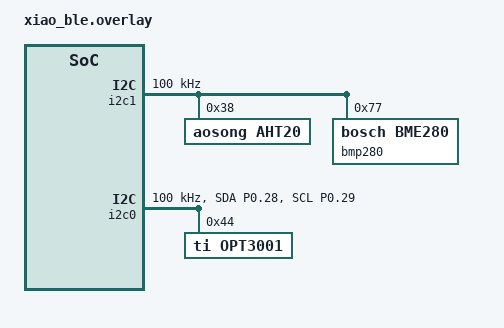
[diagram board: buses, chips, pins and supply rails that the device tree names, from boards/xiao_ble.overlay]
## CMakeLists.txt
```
#
# halo-matter: Matter over Thread colour-temperature light that drives a BenQ
# ScreenBar Halo through the nRF52840 radio in MPSL timeslots.
# Based on nRF Connect SDK samples/matter/light_bulb (LicenseRef-Nordic-5-Clause).
#
cmake_minimum_required(VERSION 3.20.0)

find_package(Zephyr HINTS $ENV{ZEPHYR_BASE})

project(halo-matter)

include(${ZEPHYR_CONNECTEDHOMEIP_MODULE_DIR}/config/nrfconnect/app/enable-gnu-std.cmake)
include(${ZEPHYR_NRF_MODULE_DIR}/samples/matter/common/cmake/source_common.cmake)
include(${ZEPHYR_NRF_MODULE_DIR}/samples/matter/common/cmake/data_model.cmake)
include(${ZEPHYR_NRF_MODULE_DIR}/samples/matter/common/cmake/zap_helpers.cmake)
ncs_get_zap_parent_dir(ZAP_PARENT_DIR)

target_include_directories(app PRIVATE
  src
  ${CMAKE_CURRENT_SOURCE_DIR}/../src
  ${ZAP_PARENT_DIR}
)

target_sources(app PRIVATE
  src/app_task.cpp
  src/main.cpp
  src/zcl_callbacks.cpp
  src/halo_radio_ts.c
  src/halo_shell.cpp
  src/crash_box.c
  src/env_sensor.cpp
  src/ac_link.cpp
  src/ac_control.cpp
  ${CHIP_ROOT}/src/app/persistence/DeferredAttributePersistenceProvider.cpp
)

ncs_configure_data_model()
```

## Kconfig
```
mainmenu "halo-matter: ScreenBar Halo as a Matter over Thread light"

if OPENTHREAD

choice OPENTHREAD_NORDIC_LIBRARY_CONFIGURATION
	default OPENTHREAD_NORDIC_LIBRARY_FTD
endchoice

choice OPENTHREAD_DEVICE_TYPE
	default OPENTHREAD_FTD
endchoice

endif # OPENTHREAD

config HALO_LAMP_ADDRESS
	hex "ScreenBar Halo pairing address (on-air byte order)"
	default 0x16224CB1

config HALO_TX_GAIN
	int "TX gain index 0..10 (-40 .. +8 dBm)"
	default 10

config HALO_ATTEMPTS
	int "Transmissions per command until a verified ACK"
	default 3

source "$(ZEPHYR_CONNECTEDHOMEIP_MODULE_DIR)/config/nrfconnect/chip-module/Kconfig.features"
source "$(ZEPHYR_CONNECTEDHOMEIP_MODULE_DIR)/config/nrfconnect/chip-module/Kconfig.defaults"
source "$(ZEPHYR_NRF_MODULE_DIR)/samples/matter/common/src/Kconfig"
source "Kconfig.zephyr"
```

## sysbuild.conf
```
SB_CONFIG_MATTER=y
SB_CONFIG_PARTITION_MANAGER=n
SB_CONFIG_BOOTLOADER_NONE=y
SB_CONFIG_MATTER_FACTORY_DATA_GENERATE=n
SB_CONFIG_MATTER_OTA=n
```

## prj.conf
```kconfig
# Matter over Thread colour-temperature light (XIAO nRF52840, Adafruit UF2 bootloader)
CONFIG_CHIP=y
CONFIG_CHIP_PROJECT_CONFIG="src/chip_project_config.h"
CONFIG_CHIP_DEVICE_PRODUCT_NAME="ScreenBar Halo"
CONFIG_CHIP_DEVICE_VENDOR_NAME="halo-nrf52840"
CONFIG_NCS_SAMPLE_MATTER_ZAP_FILE_PATH="${APPLICATION_CONFIG_DIR}/src/default_zap/halo_light.zap"
# 0x8005 = example lighting-app product id, test vendor 0xFFF1 (uncertified, Apple Home allows it)
CONFIG_CHIP_DEVICE_PRODUCT_ID=32773
CONFIG_STD_CPP17=y

# Pairing: start BLE commissioning at boot, 1 h window. Test setup code 20202021,
# discriminator 0xF00: manual pairing code 34970112332, QR MT:6FCJ142C00KA0648G00.
CONFIG_CHIP_ENABLE_PAIRING_AUTOSTART=y
CONFIG_CHIP_BLE_EXT_ADVERTISING=y
CONFIG_CHIP_BLE_ADVERTISING_DURATION=60
CONFIG_BT_DEVICE_NAME="HaloLight"

# No MCUboot on this board (Adafruit UF2 bootloader), so no OTA/DFU and no factory data partition.
CONFIG_CHIP_BOOTLOADER_NONE=y
CONFIG_CHIP_OTA_REQUESTOR=n
CONFIG_CHIP_FACTORY_DATA=n
CONFIG_CHIP_FACTORY_DATA_BUILD=n
CONFIG_CHIP_FACTORY_DATA_NONE=y

# Board: LEDs through the DK library (XIAO has three, no buttons), no PWM light.
CONFIG_DK_LIBRARY=y
CONFIG_PWM=n

# USB CDC ACM with a minimal Zephyr shell (the XIAO has no UART to the host):
# "halo on|off|level|temp" drive the lamp, "halo last" shows the last frame's
# result, "halo crash" the crash black box, "halo dfu" reboots into the UF2
# bootloader. No logging, no Matter/OpenThread shells: the image has to fit the
# XIAO's 788 kB application partition.
CONFIG_USB_DEVICE_STACK=y
CONFIG_USB_DEVICE_STACK_NEXT=n
CONFIG_USB_DEVICE_PRODUCT="halo-matter"
CONFIG_USB_CDC_ACM=y
CONFIG_USB_DEVICE_INITIALIZE_AT_BOOT=y
CONFIG_UART_LINE_CTRL=y
CONFIG_SERIAL=y
CONFIG_CONSOLE=n
CONFIG_UART_CONSOLE=n
CONFIG_SHELL=y
CONFIG_SHELL_MINIMAL=y
CONFIG_CHIP_LIB_SHELL=n
CONFIG_OPENTHREAD_SHELL=n
CONFIG_LOG=n
CONFIG_LOG_MODE_MINIMAL=n
CONFIG_PRINTK=n
CONFIG_PRINTK_SYNC=n
CONFIG_BOOT_BANNER=n

# AHT20 temperature/humidity sensor on the XIAO D4/D5 I2C bus
CONFIG_I2C=y
CONFIG_SENSOR=y
# Without a timeout a transfer on a bus with no device/pull-ups never returns
CONFIG_I2C_NRFX_TRANSFER_TIMEOUT=100

# BLE central link to the ESP32-C3 infrared blaster (AC-IR), alongside the commissioning peripheral
CONFIG_BT_CENTRAL=y
CONFIG_BT_GATT_CLIENT=y
CONFIG_BT_MAX_CONN=2
CONFIG_BT_LL_SOFTDEVICE_MULTIROLE=y

# MPSL timeslots for the Halo radio bursts
CONFIG_MPSL=y
CONFIG_MPSL_TIMESLOT_SESSION_COUNT=1
CONFIG_MPSL_ASSERT_HANDLER=y

# Other settings
CONFIG_THREAD_NAME=n
CONFIG_MPU_STACK_GUARD=y
CONFIG_RESET_ON_FATAL_ERROR=n
CONFIG_NCS_SAMPLE_MATTER_WATCHDOG=y
CONFIG_NCS_SAMPLE_MATTER_TEST_SHELL=n
CONFIG_USE_SEGGER_RTT=n
CONFIG_ENTROPY_GENERATOR=y
CONFIG_ASSERT_VERBOSE=n
CONFIG_ASSERT_NO_FILE_INFO=y
CONFIG_LTO=y
CONFIG_ISR_TABLES_LOCAL_DECLARATION=y

# No NFC tag on the XIAO: do not share the onboarding payload over NFC
CONFIG_CHIP_NFC_ONBOARDING_PAYLOAD=n
```

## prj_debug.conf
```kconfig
# Matter over Thread colour-temperature light (XIAO nRF52840, Adafruit UF2 bootloader)
CONFIG_CHIP=y
CONFIG_CHIP_PROJECT_CONFIG="src/chip_project_config.h"
CONFIG_CHIP_DEVICE_PRODUCT_NAME="ScreenBar Halo"
CONFIG_CHIP_DEVICE_VENDOR_NAME="halo-nrf52840"
CONFIG_NCS_SAMPLE_MATTER_ZAP_FILE_PATH="${APPLICATION_CONFIG_DIR}/src/default_zap/halo_light.zap"
# 0x8005 = example lighting-app product id, test vendor 0xFFF1 (uncertified, Apple Home allows it)
CONFIG_CHIP_DEVICE_PRODUCT_ID=32773
CONFIG_STD_CPP17=y

# Pairing: start BLE commissioning at boot, 1 h window. Test setup code 20202021,
# discriminator 0xF00: manual pairing code 34970112332, QR MT:6FCJ142C00KA0648G00.
CONFIG_CHIP_ENABLE_PAIRING_AUTOSTART=y
CONFIG_CHIP_BLE_EXT_ADVERTISING=y
CONFIG_CHIP_BLE_ADVERTISING_DURATION=60
CONFIG_BT_DEVICE_NAME="HaloLight"

# No MCUboot on this board (Adafruit UF2 bootloader), so no OTA/DFU and no factory data partition.
CONFIG_CHIP_BOOTLOADER_NONE=y
CONFIG_CHIP_OTA_REQUESTOR=n
CONFIG_CHIP_FACTORY_DATA=n
CONFIG_CHIP_FACTORY_DATA_BUILD=n
CONFIG_CHIP_FACTORY_DATA_NONE=y

# Board: LEDs through the DK library (XIAO has three, no buttons), no PWM light.
CONFIG_DK_LIBRARY=y
CONFIG_PWM=n

# USB CDC ACM with a minimal Zephyr shell (the XIAO has no UART to the host):
# "halo on|off|level|temp" drive the lamp, "halo last" shows the last frame's
# result, "halo crash" the crash black box, "halo dfu" reboots into the UF2
# bootloader. No logging, no Matter/OpenThread shells: the image has to fit the
# XIAO's 788 kB application partition.
CONFIG_USB_DEVICE_STACK=y
CONFIG_USB_DEVICE_STACK_NEXT=n
CONFIG_USB_DEVICE_PRODUCT="halo-matter"
CONFIG_USB_CDC_ACM=y
CONFIG_USB_DEVICE_INITIALIZE_AT_BOOT=y
CONFIG_UART_LINE_CTRL=y
CONFIG_SERIAL=y
CONFIG_CONSOLE=y
CONFIG_UART_CONSOLE=y
CONFIG_SHELL=y
CONFIG_SHELL_MINIMAL=y
CONFIG_CHIP_LIB_SHELL=n
CONFIG_OPENTHREAD_SHELL=n
CONFIG_LOG=y
CONFIG_PRINTK=y
CONFIG_BOOT_BANNER=y

# MPSL timeslots for the Halo radio bursts
CONFIG_MPSL=y
CONFIG_MPSL_TIMESLOT_SESSION_COUNT=1
CONFIG_MPSL_ASSERT_HANDLER=y

# Other settings
CONFIG_THREAD_NAME=n
CONFIG_MPU_STACK_GUARD=y
CONFIG_RESET_ON_FATAL_ERROR=n
CONFIG_NCS_SAMPLE_MATTER_WATCHDOG=y
CONFIG_NCS_SAMPLE_MATTER_TEST_SHELL=n
CONFIG_USE_SEGGER_RTT=n
CONFIG_ENTROPY_GENERATOR=y
CONFIG_ASSERT_VERBOSE=y
CONFIG_ASSERT_NO_FILE_INFO=n
CONFIG_LTO=n
CONFIG_ISR_TABLES_LOCAL_DECLARATION=y

# No NFC tag on the XIAO: do not share the onboarding payload over NFC
CONFIG_CHIP_NFC_ONBOARDING_PAYLOAD=n

CONFIG_LOG_MODE_IMMEDIATE=y
CONFIG_LOG_DEFAULT_LEVEL=3
CONFIG_ASSERT=y
```

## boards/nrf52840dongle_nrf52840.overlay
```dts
/* Makerdiary nRF52840 MDK USB Dongle carrying Nordic's PCA10059 open bootloader
 * (app at 0x1000, bootloader at 0xE0000): built as nrf52840dongle/nrf52840 for
 * that flash layout, with the MDK dongle's own RGB LED and button pins. Settings
 * live in the board's storage partition (0xDC000, 16 kB); a 4 kB factory-data
 * node sits just below it. Console and shell are the board's USB CDC ACM.
 */
&led0_green {
	gpios = <&gpio0 22 GPIO_ACTIVE_LOW>;	/* status LED: the dongle's green die */
};

&led1_red {
	gpios = <&gpio0 23 GPIO_ACTIVE_LOW>;
};

&led1_green {
	gpios = <&gpio0 22 GPIO_ACTIVE_LOW>;
};

&led1_blue {
	gpios = <&gpio0 24 GPIO_ACTIVE_LOW>;
};

&button0 {
	gpios = <&gpio0 18 (GPIO_PULL_UP | GPIO_ACTIVE_LOW)>;
};

&flash0 {
	partitions {
		factory_data_partition: partition@db000 {
			label = "factory-data";
			reg = <0x000db000 0x00001000>;
		};
	};
};
```

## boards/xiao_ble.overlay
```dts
/* XIAO nRF52840 for halo-matter.
 *
 * Flash (Adafruit UF2 bootloader + S140 layout from the board): application at
 * 0x27000 (788 kB), then the 32 kB storage area which is split here into 28 kB
 * settings storage and a 4 kB factory-data partition (unused unless factory data
 * is enabled, but the Matter platform code needs the node to exist).
 * USB CDC console comes from the board; the RGB LED is used through the DK
 * LED library; the DK button library needs a (possibly empty) buttons node.
 */
/delete-node/ &storage_partition;

&flash0 {
	partitions {
		storage_partition: partition@ec000 {
			label = "Storage";
			reg = <0x000ec000 0x00007000>;
		};
		factory_data_partition: partition@f3000 {
			label = "factory-data";
			reg = <0x000f3000 0x00001000>;
		};
	};
};

/ {
	buttons {
		compatible = "gpio-keys";
	};
};

/* AHT20 temperature/humidity sensor on D4 (SDA) / D5 (SCL), reported over Matter. */
&i2c1 {
	status = "okay";
	clock-frequency = <I2C_BITRATE_STANDARD>;

	aht20: aht20@38 {
		compatible = "aosong,aht20";
		reg = <0x38>;
	};

	/* BMP280 pressure sensor; the bme280 driver identifies and supports it. */
	bmp280: bmp280@77 {
		compatible = "bosch,bme280";
		reg = <0x77>;
	};
};

/* Second I2C bus on D2 (SDA, P0.28) / D3 (SCL, P0.29). The Sense board's IMU also
 * wires to i2c0 (P0.07/P0.27), but that target is not used here, so the instance is free.
 */
&pinctrl {
	i2c0_d2d3_default: i2c0_d2d3_default {
		group1 {
			psels = <NRF_PSEL(TWIM_SDA, 0, 28)>,
				<NRF_PSEL(TWIM_SCL, 0, 29)>;
			bias-pull-up;
		};
	};

	i2c0_d2d3_sleep: i2c0_d2d3_sleep {
		group1 {
			psels = <NRF_PSEL(TWIM_SDA, 0, 28)>,
				<NRF_PSEL(TWIM_SCL, 0, 29)>;
			low-power-enable;
		};
	};
};

&i2c0 {
	status = "okay";
	clock-frequency = <I2C_BITRATE_STANDARD>;
	pinctrl-0 = <&i2c0_d2d3_default>;
	pinctrl-1 = <&i2c0_d2d3_sleep>;
	pinctrl-names = "default", "sleep";

	opt3001: opt3001@44 {
		compatible = "ti,opt3001";
		reg = <0x44>;
	};
};

/* Unused peripherals off */
&spi2 {
	status = "disabled";
};

&qspi {
	status = "disabled";
};
```

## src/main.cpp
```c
#include "app_task.h"
#include "crash_box.h"

#include <zephyr/arch/cpu.h>
#include <cmsis_core.h>
#include <zephyr/device.h>
#include <zephyr/drivers/uart.h>
#include <zephyr/fatal.h>
#include <zephyr/kernel.h>
#include <zephyr/logging/log.h>
#include <zephyr/sys/reboot.h>

LOG_MODULE_REGISTER(app, CONFIG_CHIP_APP_LOG_LEVEL);

/* A fatal error at high interrupt priority cannot reach the USB console, so
 * its reason and faulting address are kept in RAM across the reboot and printed
 * on the next boot (see crash_box.c for the MPSL assert hook).
 */
extern "C" void k_sys_fatal_error_handler(unsigned int reason, const struct arch_esf *esf)
{
	crash_box.magic = CRASH_BOX_MAGIC;
	crash_box.reported = 0;
	crash_box.reason = reason;
	crash_box.pc = esf ? esf->basic.pc : 0;
	crash_box.lr = esf ? esf->basic.lr : 0;
	crash_box.thread = (uint32_t)k_current_get();
	/* Poor man's backtrace: scan the stack above the exception frame for
	 * anything that looks like a Thumb code address in flash.
	 */
	crash_box.trace_count = 0;
	{
		/* The esf we get is a copy on the interrupt stack; walk the thread's
		 * own stack from its current PSP to the end of its stack region.
		 */
		struct k_thread *t = k_current_get();
		uint32_t sp = __get_PSP();
		uint32_t end = t->stack_info.start + t->stack_info.size;

		if (sp < t->stack_info.start || sp >= end) {
			sp = t->stack_info.start;
		}
		for (uint32_t a = sp & ~3u; a + 4 <= end && crash_box.trace_count < 24; a += 4) {
			uint32_t w = *reinterpret_cast<const uint32_t *>(a);

			if (w >= 0x27000u && w < 0x100000u && (w & 1u)) {
				crash_box.trace[crash_box.trace_count++] = w;
			}
		}
	}
	sys_reboot(SYS_REBOOT_COLD);
}

int main()
{
	const struct device *console = DEVICE_DT_GET(DT_CHOSEN(zephyr_console));

	/* The console is USB CDC: give a host a few seconds to open the port. After
	 * a crash wait much longer, so a boot loop leaves time to read "halo crash".
	 * The record survives later warm reboots (it stays readable), but only the
	 * first boot after the crash is held.
	 */
	bool fresh_crash = crash_box.magic == CRASH_BOX_MAGIC && !crash_box.reported;
	int wait_ticks = fresh_crash ? 300 : 80;

	for (int i = 0; i < wait_ticks; i++) {
		uint32_t dtr = 0;

		if (uart_line_ctrl_get(console, UART_LINE_CTRL_DTR, &dtr) == 0 && dtr) {
			break;
		}
		k_msleep(100);
	}

	/* A recorded crash stays in crash_box for the "halo crash" shell command;
	 * a clean power-up leaves random RAM, which the magic value filters out.
	 * After a crash keep the stack held until 30 s after boot so a boot loop can
	 * be inspected.
	 */
	if (crash_box.magic != CRASH_BOX_MAGIC) {
		crash_box.mpsl_file[0] = 0;
		crash_box.mpsl_line = 0;
	} else if (fresh_crash) {
		crash_box.reported = 1;
		int64_t left = 30000 - k_uptime_get();

		if (left > 0) {
			k_msleep(left);
		}
	}

	CHIP_ERROR err = AppTask::Instance().StartApp();

	LOG_ERR("Exited with code %" CHIP_ERROR_FORMAT, err.Format());
	return err == CHIP_NO_ERROR ? EXIT_SUCCESS : EXIT_FAILURE;
}
```

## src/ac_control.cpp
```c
#include "ac_control.h"
#include "ac_link.h"

#include <app-common/zap-generated/cluster-objects.h>
#include <app-common/zap-generated/ids/Attributes.h>
#include <app-common/zap-generated/ids/Clusters.h>

#include <zephyr/kernel.h>

#include <stdio.h>
#include <string.h>

using namespace ::chip;
using namespace ::chip::app::Clusters;

namespace {
constexpr uint32_t kDebounceMs = 700;
constexpr int kRetries = 2;

/* Shadow of the A/C state. Panasonic fan values: 1 low, 2 medium, 3 high, 7 auto. */
bool sOn = false;
int sTempC = 25;
int sFan = 7;

K_THREAD_STACK_DEFINE(sStack, 2048);
struct k_work_q sQueue;
struct k_work_delayable sWork;

void SendWork(struct k_work *)
{
	char cmd[40];

	snprintf(cmd, sizeof(cmd), "set %s %d %d", sOn ? "on" : "off", sTempC, sFan);
	for (int i = 0; i <= kRetries; i++) {
		if (AcLink::Send(cmd) == AcLink::kOk) {
			return;
		}
		k_msleep(500);
	}
}

void Schedule()
{
	k_work_reschedule_for_queue(&sQueue, &sWork, K_MSEC(kDebounceMs));
}
} /* namespace */

void AcControl::OnAttributeChanged(const app::ConcreteAttributePath &path, uint16_t size, uint8_t *value)
{
	if (path.mEndpointId == kThermostatEndpointId && path.mClusterId == Thermostat::Id) {
		if (path.mAttributeId == Thermostat::Attributes::SystemMode::Id) {
			/* 0 Off, 3 Cool; anything else is not offered (ControlSequence: cooling only) */
			sOn = *value == static_cast<uint8_t>(Thermostat::SystemModeEnum::kCool);
			Schedule();
		} else if (path.mAttributeId == Thermostat::Attributes::OccupiedCoolingSetpoint::Id && size == 2) {
			int16_t centi;

			memcpy(&centi, value, sizeof(centi));
			int t = (centi + 50) / 100;

			sTempC = t < 16 ? 16 : t > 30 ? 30 : t;
			Schedule();
		}
	} else if (path.mEndpointId == kFanEndpointId && path.mClusterId == FanControl::Id &&
		   path.mAttributeId == FanControl::Attributes::FanMode::Id) {
		switch (static_cast<FanControl::FanModeEnum>(*value)) {
		case FanControl::FanModeEnum::kLow: sFan = 1; break;
		case FanControl::FanModeEnum::kMedium: sFan = 2; break;
		case FanControl::FanModeEnum::kHigh: sFan = 3; break;
		case FanControl::FanModeEnum::kAuto: sFan = 7; break;
		default: return;     /* Off / On: no meaning for the A/C fan */
		}
		Schedule();
	}
}

void AcControl::Start()
{
	k_work_queue_init(&sQueue);
	k_work_queue_start(&sQueue, sStack, K_THREAD_STACK_SIZEOF(sStack), K_PRIO_PREEMPT(12), nullptr);
	k_work_init_delayable(&sWork, SendWork);
}
```

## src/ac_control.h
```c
/* Matter Thermostat (endpoint 7, cooling only) and Fan (endpoint 8) -> AC-IR over BLE.
 * Attribute writes from a controller update a shadow of the A/C state; after a short pause the
 * whole state is sent once as "set <on|off> <temp> <fan>".
 */
#pragma once

#include <app/ConcreteAttributePath.h>

namespace AcControl {
constexpr chip::EndpointId kThermostatEndpointId = 7;
constexpr chip::EndpointId kFanEndpointId = 8;

/* Called from MatterPostAttributeChangeCallback (Matter thread); returns immediately. */
void OnAttributeChanged(const chip::app::ConcreteAttributePath &path, uint16_t size, uint8_t *value);

/* Start the worker; call once at boot. */
void Start();
}
```

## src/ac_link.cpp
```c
#include "ac_link.h"

#include <zephyr/bluetooth/bluetooth.h>
#include <zephyr/bluetooth/conn.h>
#include <zephyr/bluetooth/gatt.h>
#include <zephyr/bluetooth/uuid.h>
#include <zephyr/kernel.h>

#include <errno.h>
#include <string.h>

namespace {
/* Public BLE address of the C3 ("AC-IR"). */
constexpr uint8_t kAddr[6] = {0x06, 0x6E, 0xB1, 0xD5, 0x96, 0x9C};   /* 9C:96:D5:B1:6E:06, little endian */
#define CMD_UUID BT_UUID_128_ENCODE(0x6d0a0002, 0x7a43, 0x4c55, 0x8a1e, 0x0a5c1e5f1a01)
struct bt_uuid_128 sCmdUuid = BT_UUID_INIT_128(CMD_UUID);

K_MUTEX_DEFINE(sBusy);
K_SEM_DEFINE(sConnected, 0, 1);
K_SEM_DEFINE(sDiscovered, 0, 1);
K_SEM_DEFINE(sDisconnected, 0, 1);

struct bt_conn *sConn;
uint16_t sCmdHandle;
bool sFound;
int sLastErr;
struct bt_gatt_discover_params sDiscover;

void OnConnected(struct bt_conn *conn, uint8_t err)
{
	if (conn != sConn) {
		return;
	}
	sLastErr = err;
	k_sem_give(&sConnected);
}

void OnDisconnected(struct bt_conn *conn, uint8_t)
{
	if (conn != sConn) {
		return;
	}
	k_sem_give(&sDisconnected);
}

BT_CONN_CB_DEFINE(sConnCb) = {
	.connected = OnConnected,
	.disconnected = OnDisconnected,
};

uint8_t OnDiscover(struct bt_conn *, const struct bt_gatt_attr *attr, struct bt_gatt_discover_params *)
{
	if (!attr) {
		k_sem_give(&sDiscovered);
		return BT_GATT_ITER_STOP;
	}
	sCmdHandle = reinterpret_cast<const struct bt_gatt_chrc *>(attr->user_data)->value_handle;
	sFound = true;
	k_sem_give(&sDiscovered);
	return BT_GATT_ITER_STOP;
}
} /* namespace */

AcLink::Result AcLink::Send(const char *command)
{
	if (k_mutex_lock(&sBusy, K_NO_WAIT) != 0) {
		return kBusy;
	}
	Result result = kOk;
	bt_addr_le_t addr;

	addr.type = BT_ADDR_LE_PUBLIC;
	memcpy(addr.a.val, kAddr, sizeof(kAddr));
	k_sem_reset(&sConnected);
	k_sem_reset(&sDiscovered);
	k_sem_reset(&sDisconnected);
	sFound = false;

	sLastErr = 0;
	int ret = bt_conn_le_create(&addr, BT_CONN_LE_CREATE_CONN, BT_LE_CONN_PARAM_DEFAULT, &sConn);

	if (ret != 0) {
		sLastErr = ret;
		sConn = nullptr;
		k_mutex_unlock(&sBusy);
		return kConnectTimeout;
	}
	if (k_sem_take(&sConnected, K_SECONDS(5)) != 0 || sLastErr != 0) {
		if (sConn) {
			bt_conn_disconnect(sConn, BT_HCI_ERR_REMOTE_USER_TERM_CONN);
			bt_conn_unref(sConn);
			sConn = nullptr;
		}
		k_mutex_unlock(&sBusy);
		return kConnectTimeout;
	}

	sDiscover = {};
	sDiscover.uuid = &sCmdUuid.uuid;
	sDiscover.func = OnDiscover;
	sDiscover.start_handle = BT_ATT_FIRST_ATTRIBUTE_HANDLE;
	sDiscover.end_handle = BT_ATT_LAST_ATTRIBUTE_HANDLE;
	sDiscover.type = BT_GATT_DISCOVER_CHARACTERISTIC;

	int dret = bt_gatt_discover(sConn, &sDiscover);

	if (dret != 0) {
		sLastErr = dret;                       /* the discover call itself failed */
		result = kDiscoverFailed;
	} else if (k_sem_take(&sDiscovered, K_SECONDS(3)) != 0) {
		sLastErr = -ETIMEDOUT;                 /* no reply from the C3 */
		result = kDiscoverFailed;
	} else if (!sFound) {
		sLastErr = -ENOENT;                    /* discovery finished, UUID not in its database */
		result = kDiscoverFailed;
	} else if (bt_gatt_write_without_response(sConn, sCmdHandle, command, strlen(command), false) != 0) {
		result = kWriteFailed;
	} else {
		k_msleep(150);   /* let the packet go out before tearing the link down */
	}

	bt_conn_disconnect(sConn, BT_HCI_ERR_REMOTE_USER_TERM_CONN);
	k_sem_take(&sDisconnected, K_SECONDS(2));
	bt_conn_unref(sConn);
	sConn = nullptr;
	k_mutex_unlock(&sBusy);
	return result;
}

int AcLink::LastError()
{
	return sLastErr;
}

const char *AcLink::ResultName(Result r)
{
	switch (r) {
	case kOk: return "ok";
	case kBusy: return "busy";
	case kConnectTimeout: return "connect timeout (is AC-IR powered and in range?)";
	case kDiscoverFailed: return "command characteristic not found";
	case kWriteFailed: return "write failed";
	}
	return "?";
}
```

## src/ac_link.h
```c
/* BLE link to the ESP32-C3 "AC-IR" infrared blaster: connect on demand, write one text
 * command to its command characteristic, disconnect.
 */
#pragma once

namespace AcLink {
enum Result { kOk = 0, kBusy, kConnectTimeout, kDiscoverFailed, kWriteFailed };

/* Queue a text command such as "set on 25 auto". Returns once the command has been
 * written (or failed); blocks up to about 10 s, so do not call it from the Matter thread.
 */
Result Send(const char *command);
const char *ResultName(Result r);

/* Detail of the last failure: the Zephyr error from bt_conn_le_create(), or the HCI status of a failed connection. */
int LastError();
}
```

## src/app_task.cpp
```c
#include "app_task.h"

#include "app/matter_init.h"
#include "app/task_executor.h"
#include "board/board.h"
#include "clusters/identify.h"
#include "ac_control.h"
#include "env_sensor.h"
#include "halo_radio_ts.h"

#include <app-common/zap-generated/attributes/Accessors.h>
#include <app-common/zap-generated/ids/Attributes.h>
#include <app-common/zap-generated/ids/Clusters.h>
#include <app/persistence/AttributePersistenceProviderInstance.h>
#include <app/persistence/DefaultAttributePersistenceProvider.h>
#include <app/persistence/DeferredAttributePersistenceProvider.h>

#include <zephyr/kernel.h>
#include <zephyr/logging/log.h>
#include <zephyr/random/random.h>

LOG_MODULE_DECLARE(app, CONFIG_CHIP_APP_LOG_LEVEL);

using namespace ::chip;
using namespace ::chip::app;
using namespace ::chip::DeviceLayer;

namespace
{
constexpr EndpointId kFront = AppTask::kFrontEndpointId;
constexpr EndpointId kBack = AppTask::kBackEndpointId;
constexpr uint16_t kMiredsCold = 154;	/* 6500 K */
constexpr uint16_t kMiredsWarm = 370;	/* 2700 K */
constexpr uint8_t kLevelMinCode = 0x4c;	/* lamp brightness code range, see USB firmware */
constexpr uint8_t kLevelMaxCode = 0xfe;

auto sIdentifyDone = []() { Nrf::PostTask([] { Nrf::GetBoard().GetLED(Nrf::DeviceLeds::LED2).Set(false); }); };
Nrf::Matter::IdentifyCluster sIdentifyFront(kFront, true, sIdentifyDone);
Nrf::Matter::IdentifyCluster sIdentifyBack(kBack, true, sIdentifyDone);

/* Level and colour temperature are written often while a slider moves; persist them lazily. */
DeferredAttribute gDeferred[] = {
	DeferredAttribute(ConcreteAttributePath(kFront, Clusters::LevelControl::Id,
						Clusters::LevelControl::Attributes::CurrentLevel::Id)),
	DeferredAttribute(ConcreteAttributePath(kFront, Clusters::ColorControl::Id,
						Clusters::ColorControl::Attributes::ColorTemperatureMireds::Id)),
	DeferredAttribute(ConcreteAttributePath(kBack, Clusters::LevelControl::Id,
						Clusters::LevelControl::Attributes::CurrentLevel::Id)),
	DeferredAttribute(ConcreteAttributePath(kBack, Clusters::ColorControl::Id,
						Clusters::ColorControl::Attributes::ColorTemperatureMireds::Id)),
};
DefaultAttributePersistenceProvider gSimpleAttributePersistence;
DeferredAttributePersistenceProvider gDeferredAttributePersister(gSimpleAttributePersistence,
								 Span<DeferredAttribute>(gDeferred, 4),
								 System::Clock::Milliseconds32(5000));

/* Lamp state as the Matter side wants it, and what still has to go out. */
struct LampState {
	bool frontOn;
	bool backOn;
	uint8_t levelPct;	/* 1..100, shared by both lamps */
	uint8_t tempPct;	/* 0 coldest .. 100 warmest, shared */
};
LampState sState = { false, false, 50, 50 };
uint8_t sLevelRaw = 254;	/* last Level Control value seen, to mirror it to the other endpoint */
uint16_t sMiredsRaw = 250;
bool sMirroring;		/* set while writing the mirrored attribute, so the callback ignores it */
bool sDirtyPower;
bool sDirtyTemp;
bool sReady;	/* attribute writes before the server is up are restores, not commands */
unsigned sPid;

K_SEM_DEFINE(sSyncSem, 0, 1);

/* Status LED (XIAO: LED1 red, LED2 green, LED3 blue):
 *   blue blinking slowly   waiting to be paired (BLE advertising)
 *   blue blinking fast     a phone is connected, commissioning in progress
 *   green for 5 s          joined the Thread network / provisioned
 *   green / red flash      a frame was ACKed / not ACKed by the lamp
 */
void GreenOff(k_timer *)
{
	Nrf::PostTask([] { Nrf::GetBoard().GetLED(Nrf::DeviceLeds::LED2).Set(false); });
}
K_TIMER_DEFINE(sGreenOffTimer, GreenOff, nullptr);

void StatusLedHandler()
{
	auto &board = Nrf::GetBoard();
	auto &red = board.GetLED(Nrf::DeviceLeds::LED1);
	auto &green = board.GetLED(Nrf::DeviceLeds::LED2);
	auto &blue = board.GetLED(Nrf::DeviceLeds::LED3);

	red.Set(false);
	blue.Set(false);
	switch (board.GetDeviceState()) {
	case Nrf::DeviceState::DeviceDisconnected:
	case Nrf::DeviceState::DeviceAdvertisingBLE:
		blue.Blink(300, 300);
		break;
	case Nrf::DeviceState::DeviceConnectedBLE:
		blue.Blink(80, 80);
		break;
	case Nrf::DeviceState::DeviceProvisioned:
		green.Set(true);
		k_timer_start(&sGreenOffTimer, K_SECONDS(5), K_NO_WAIT);
		break;
	}
}

void FlashResult(bool ack)
{
	auto &led = Nrf::GetBoard().GetLED(ack ? Nrf::DeviceLeds::LED2 : Nrf::DeviceLeds::LED1);

	led.Set(true);
	k_msleep(120);
	led.Set(false);
}
K_THREAD_STACK_DEFINE(sHaloStack, 2048);
struct k_thread sHaloThread;

uint8_t LevelToPercent(uint8_t level)
{
	if (level == 0) {
		return 1;
	}
	return static_cast<uint8_t>(1 + (static_cast<unsigned>(level) - 1) * 99 / 253);
}

uint8_t MiredsToPercent(uint16_t mireds)
{
	if (mireds <= kMiredsCold) {
		return 0;
	}
	if (mireds >= kMiredsWarm) {
		return 100;
	}
	return static_cast<uint8_t>((mireds - kMiredsCold) * 100u / (kMiredsWarm - kMiredsCold));
}

uint8_t PercentToLevelCode(uint8_t pct)
{
	if (pct == 0) {
		return kLevelMinCode;
	}
	return static_cast<uint8_t>(kLevelMinCode + ((pct - 1) * (kLevelMaxCode - kLevelMinCode) + 49) / 99);
}

void RequestSync(bool power, bool temp)
{
	if (!sReady) {
		return;
	}
	unsigned key = irq_lock();

	sDirtyPower = sDirtyPower || power;
	sDirtyTemp = sDirtyTemp || temp;
	irq_unlock(key);
	k_sem_give(&sSyncSem);
}

AppTask::LastFrame sLast;

void SendFrame(const char *what, uint8_t flags, uint8_t value)
{
	halo_ts_result_t r = halo_ts_send(CONFIG_HALO_LAMP_ADDRESS, flags, value, sPid, CONFIG_HALO_TX_GAIN,
					  CONFIG_HALO_ATTEMPTS);

	sPid = (sPid + 1) % 4;
	sLast.what = what;
	sLast.flags = flags;
	sLast.value = value;
	sLast.result = r;
	sLast.count++;
	FlashResult(r.ack);
	LOG_INF("Halo %s %02X%02X: %s after %u attempt(s), rssi %d dBm%s [started %u tx %u rxto %u blocked %u nosig %u err %d txend %u us radiosig %u]",
		what, flags, value, r.ack ? "ACK" : "no ACK", r.attempts, r.rssi_dbm,
		r.energy && !r.ack ? " (reply heard)" : "", r.started, r.tx_done, r.rx_timeout, r.blocked,
		r.no_signal, r.request_err, r.tx_end_us, r.radio_signals);
}

void HaloThread(void *, void *, void *)
{
	if (halo_ts_init()) {
		LOG_ERR("MPSL timeslot session could not be opened");
	}
	for (;;) {
		k_sem_take(&sSyncSem, K_FOREVER);
		/* Coalesce slider moves: let the attribute settle for a moment. */
		k_msleep(80);

		unsigned key = irq_lock();
		LampState s = sState;
		bool power = sDirtyPower, temp = sDirtyTemp;

		sDirtyPower = false;
		/* keep a pending temperature until a lamp is on */
		sDirtyTemp = (s.frontOn || s.backOn) ? false : sDirtyTemp;
		irq_unlock(key);

		/* Every frame is an absolute state: which lamps, and POWER. All off is
		 * sent as an ordinary frame with POWER clear, like the remote does.
		 */
		bool on = s.frontOn || s.backOn;
		uint8_t lamps = on ? ((s.frontOn ? HALO_FLAG_FRONT : 0) | (s.backOn ? HALO_FLAG_BACK : 0))
				   : (HALO_FLAG_FRONT | HALO_FLAG_BACK);

		if (power) {
			uint8_t flags = lamps | HALO_FLAG_BRIGHTNESS | (on ? HALO_FLAG_POWER : 0);

			SendFrame("brightness", flags, on ? PercentToLevelCode(s.levelPct) : kLevelMinCode);
		}
		if (temp && on) {
			SendFrame("temperature", lamps | HALO_FLAG_TEMPERATURE | HALO_FLAG_POWER, s.tempPct);
		}
	}
}
} /* namespace */

const AppTask::LastFrame &AppTask::GetLastFrame()
{
	return sLast;
}

/* Write a shared attribute to the other endpoint without triggering a new sync.
 * Only once the server is up: during cluster initialisation each endpoint
 * restores its own persisted value, and writing into a cluster that has not been
 * initialised yet faults.
 */
template <typename Setter> void Mirror(EndpointId from, Setter set)
{
	if (!sReady) {
		return;
	}
	EndpointId other = from == kFront ? kBack : kFront;

	sMirroring = true;
	set(other);
	sMirroring = false;
}

void AppTask::SeedState(EndpointId endpoint, bool on, uint8_t level, uint16_t mireds)
{
	unsigned key = irq_lock();

	if (endpoint == kBack) {
		sState.backOn = on;
	} else {
		sState.frontOn = on;
	}
	sState.levelPct = LevelToPercent(level);
	sState.tempPct = MiredsToPercent(mireds);
	sLevelRaw = level;
	sMiredsRaw = mireds;
	irq_unlock(key);
}

void AppTask::SetOnOff(EndpointId endpoint, bool on)
{
	unsigned key = irq_lock();
	bool wasOn = sState.frontOn || sState.backOn;

	if (endpoint == kBack) {
		sState.backOn = on;
	} else {
		sState.frontOn = on;
	}
	bool isOn = sState.frontOn || sState.backOn;
	irq_unlock(key);
	RequestSync(true, !wasOn && isOn);	/* re-apply a pending temperature when switching on */
}

void AppTask::SetLevel(EndpointId endpoint, uint8_t level)
{
	if (sMirroring) {
		return;
	}
	uint8_t pct = LevelToPercent(level);
	unsigned key = irq_lock();
	bool on = sState.frontOn || sState.backOn;
	bool changed = sLevelRaw != level;

	sState.levelPct = pct;
	sLevelRaw = level;
	irq_unlock(key);
	if (changed) {
		Mirror(endpoint, [level](EndpointId other) {
			Clusters::LevelControl::Attributes::CurrentLevel::Set(other, level);
		});
	}
	if (on) {
		RequestSync(true, false);
	}
}

void AppTask::SetMireds(EndpointId endpoint, uint16_t mireds)
{
	if (sMirroring) {
		return;
	}
	uint8_t pct = MiredsToPercent(mireds);
	unsigned key = irq_lock();
	bool changed = sMiredsRaw != mireds;

	sState.tempPct = pct;
	sMiredsRaw = mireds;
	irq_unlock(key);
	if (changed) {
		Mirror(endpoint, [mireds](EndpointId other) {
			Clusters::ColorControl::Attributes::ColorTemperatureMireds::Set(other, mireds);
		});
	}
	RequestSync(false, true);
}

CHIP_ERROR AppTask::Init()
{
	ReturnErrorOnFailure(Nrf::Matter::PrepareServer(Nrf::Matter::InitData{ .mPostServerInitClbk = []() {
		app::SetAttributePersistenceProvider(&gDeferredAttributePersister);
		gSimpleAttributePersistence.Init(Nrf::Matter::GetPersistentStorageDelegate());
		return CHIP_NO_ERROR;
	} }));

	if (!Nrf::GetBoard().Init(nullptr, StatusLedHandler)) {
		LOG_WRN("Board LEDs/buttons initialization failed (no buttons on this board is fine)");
	}

	ReturnErrorOnFailure(Nrf::Matter::RegisterEventHandler(Nrf::Board::DefaultMatterEventHandler, 0));
	ReturnErrorOnFailure(sIdentifyFront.Init());
	ReturnErrorOnFailure(sIdentifyBack.Init());

	sPid = sys_rand32_get() & 3;
	k_thread_create(&sHaloThread, sHaloStack, K_THREAD_STACK_SIZEOF(sHaloStack), HaloThread, nullptr,
			nullptr, nullptr, K_PRIO_PREEMPT(10), 0, K_NO_WAIT);
	k_thread_name_set(&sHaloThread, "halo");

	CHIP_ERROR err = Nrf::Matter::StartServer();
	EnvSensor::Start();
	AcControl::Start();

	sReady = (err == CHIP_NO_ERROR);
	return err;
}

CHIP_ERROR AppTask::StartApp()
{
	ReturnErrorOnFailure(Init());

	while (true) {
		Nrf::DispatchNextTask();
	}

	return CHIP_NO_ERROR;
}
```

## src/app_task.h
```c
/* halo-matter application: Matter colour-temperature light endpoint whose state
 * is pushed to a BenQ ScreenBar Halo over the private 2.4 GHz protocol.
 */
#pragma once

#include "halo_radio_ts.h"

#include <platform/CHIPDeviceLayer.h>

class AppTask {
public:
	static AppTask &Instance()
	{
		static AppTask sAppTask;
		return sAppTask;
	};

	CHIP_ERROR StartApp();

	/* Endpoint 1 is the front lamp, endpoint 2 the back lamp. Brightness and colour
	 * temperature are shared by the lamp, so a change on one endpoint is mirrored
	 * to the other.
	 */
	static constexpr chip::EndpointId kFrontEndpointId = 1;
	static constexpr chip::EndpointId kBackEndpointId = 2;

	/* Called from Matter attribute callbacks (Matter thread). */
	void SetOnOff(chip::EndpointId endpoint, bool on);
	void SetLevel(chip::EndpointId endpoint, uint8_t level);		/* Level Control 1..254 */
	void SetMireds(chip::EndpointId endpoint, uint16_t mireds);	/* 154 (6500 K) .. 370 (2700 K) */

	/* Seed the cached state from persisted attributes at boot, without transmitting. */
	void SeedState(chip::EndpointId endpoint, bool on, uint8_t level, uint16_t mireds);

	/* Result of the most recent frame, for the "halo last" shell command. */
	struct LastFrame {
		const char *what;
		uint8_t flags;
		uint8_t value;
		halo_ts_result_t result;
		unsigned count;
	};
	static const LastFrame &GetLastFrame();

private:
	CHIP_ERROR Init();
};
```

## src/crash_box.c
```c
#include "crash_box.h"

#include <string.h>

#include <zephyr/kernel.h>

__noinit struct crash_record crash_box;

/* MPSL assert hook (CONFIG_MPSL_ASSERT_HANDLER): record where, then oops like
 * the default handler so the fatal error handler reboots.
 */
void mpsl_assert_handle(char *file, uint32_t line)
{
	memset(crash_box.mpsl_file, 0, sizeof(crash_box.mpsl_file));
	strncpy(crash_box.mpsl_file, file ? file : "?", sizeof(crash_box.mpsl_file) - 1);
	crash_box.mpsl_line = line;
	k_oops();
}
```

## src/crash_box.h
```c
/* Crash black box kept in RAM across a reboot. */
#pragma once
#include <stdint.h>

#ifdef __cplusplus
extern "C" {
#endif

struct crash_record {
	uint32_t magic;
	uint32_t reason;
	uint32_t pc;
	uint32_t lr;
	uint32_t thread;
	char mpsl_file[12];
	uint32_t mpsl_line;
	uint32_t trace[24];	/* code addresses found on the faulting thread's stack */
	uint32_t trace_count;
	uint32_t reported;	/* set once the post-crash boot hold has been served */
};

extern struct crash_record crash_box;
#define CRASH_BOX_MAGIC 0xC5A5A0A0u

#ifdef __cplusplus
}
#endif
```

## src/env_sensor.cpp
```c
#include "env_sensor.h"

#include "app/task_executor.h"

#include <app-common/zap-generated/attributes/Accessors.h>
#include <app-common/zap-generated/ids/Clusters.h>

#include <zephyr/device.h>
#include <zephyr/drivers/sensor.h>
#include <zephyr/kernel.h>

#include <math.h>

using namespace ::chip;
using namespace ::chip::app::Clusters;

namespace {
constexpr uint32_t kSampleIntervalMs = 10000;

const struct device *const sSensor = DEVICE_DT_GET_ONE(aosong_aht20);
const struct device *const sLight = DEVICE_DT_GET_ONE(ti_opt3001);
const struct device *const sPressure = DEVICE_DT_GET(DT_NODELABEL(bmp280));
k_work_delayable sWork;
volatile int16_t sLastTemp;
volatile uint16_t sLastHum;
volatile bool sHaveReading;
volatile uint32_t sLastCentiLux;
volatile bool sHaveLux;
volatile int16_t sLastPressure;
volatile bool sHavePressure;

void SampleWork(k_work *)
{
	struct sensor_value temp, hum;

	if (device_is_ready(sSensor) && sensor_sample_fetch(sSensor) == 0 &&
	    sensor_channel_get(sSensor, SENSOR_CHAN_AMBIENT_TEMP, &temp) == 0 &&
	    sensor_channel_get(sSensor, SENSOR_CHAN_HUMIDITY, &hum) == 0) {
		/* Matter units: 0.01 degC and 0.01 %RH. */
		int16_t centiDegC = static_cast<int16_t>(temp.val1 * 100 + temp.val2 / 10000);
		uint16_t centiPercent = static_cast<uint16_t>(hum.val1 * 100 + hum.val2 / 10000);

		sLastTemp = centiDegC;
		sLastHum = centiPercent;
		sHaveReading = true;

		Nrf::PostTask([centiDegC, centiPercent] {
			TemperatureMeasurement::Attributes::MeasuredValue::Set(EnvSensor::kTemperatureEndpointId,
									       centiDegC);
			RelativeHumidityMeasurement::Attributes::MeasuredValue::Set(
				EnvSensor::kHumidityEndpointId, centiPercent);
			Thermostat::Attributes::LocalTemperature::Set(7, centiDegC);   /* AcControl::kThermostatEndpointId */
		});
	}

	struct sensor_value lux;

	if (device_is_ready(sLight) && sensor_sample_fetch(sLight) == 0 &&
	    sensor_channel_get(sLight, SENSOR_CHAN_LIGHT, &lux) == 0) {
		uint32_t centiLux = static_cast<uint32_t>(lux.val1) * 100 + lux.val2 / 10000;
		/* Matter Illuminance: 10000 * log10(lux) + 1, where 0 means "too dark to measure". */
		uint16_t measured = 0;

		if (centiLux >= 100) {
			double v = 10000.0 * log10(centiLux / 100.0) + 1.0;

			measured = static_cast<uint16_t>(v > 65534.0 ? 65534.0 : v);
		}
		sLastCentiLux = centiLux;
		sHaveLux = true;

		Nrf::PostTask([measured] {
			IlluminanceMeasurement::Attributes::MeasuredValue::Set(EnvSensor::kIlluminanceEndpointId,
									       measured);
		});
	}

	struct sensor_value press;

	if (device_is_ready(sPressure) && sensor_sample_fetch(sPressure) == 0 &&
	    sensor_channel_get(sPressure, SENSOR_CHAN_PRESS, &press) == 0) {
		/* Zephyr reports kPa; Matter Pressure Measurement is in 0.1 kPa (= 1 hPa). */
		int16_t hPa = static_cast<int16_t>(press.val1 * 10 + press.val2 / 100000);

		sLastPressure = hPa;
		sHavePressure = true;

		Nrf::PostTask([hPa] {
			PressureMeasurement::Attributes::MeasuredValue::Set(EnvSensor::kPressureEndpointId, hPa);
		});
	}
	k_work_reschedule(&sWork, K_MSEC(kSampleIntervalMs));
}
} /* namespace */

bool EnvSensor::Latest(int16_t &centiDegC, uint16_t &centiPercent)
{
	centiDegC = sLastTemp;
	centiPercent = sLastHum;
	return sHaveReading;
}

bool EnvSensor::LatestLux(uint32_t &centiLux)
{
	centiLux = sLastCentiLux;
	return sHaveLux;
}

bool EnvSensor::LatestPressure(int16_t &hPa)
{
	hPa = sLastPressure;
	return sHavePressure;
}

void EnvSensor::Start()
{
	k_work_init_delayable(&sWork, SampleWork);
	k_work_reschedule(&sWork, K_SECONDS(2));
}
```

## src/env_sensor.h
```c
/* AHT20 on the XIAO's D4/D5 I2C pins, reported as Matter Temperature (endpoint 3)
 * and Relative Humidity (endpoint 4) measurements; OPT3001 on D2/D3 as Illuminance
 * (endpoint 5); BMP280 on D4/D5 as Pressure (endpoint 6).
 */
#pragma once

#include <lib/core/DataModelTypes.h>

namespace EnvSensor {
constexpr chip::EndpointId kTemperatureEndpointId = 3;
constexpr chip::EndpointId kHumidityEndpointId = 4;
constexpr chip::EndpointId kIlluminanceEndpointId = 5;
constexpr chip::EndpointId kPressureEndpointId = 6;

/* Latest reading in 0.01 degC / 0.01 %RH; false until the first successful sample. */
bool Latest(int16_t &centiDegC, uint16_t &centiPercent);

/* Latest OPT3001 reading in 0.01 lux; false until the first successful sample. */
bool LatestLux(uint32_t &centiLux);

/* Latest BMP280 reading in 0.1 kPa (1 hPa); false until the first successful sample. */
bool LatestPressure(int16_t &hPa);

/* Start periodic sampling; call once the Matter stack is initialised. */
void Start();
}
```

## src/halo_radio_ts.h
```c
/* ScreenBar Halo transmitter running inside MPSL timeslots, so it can share the
 * nRF52840 radio with Thread and Bluetooth LE.
 */
#pragma once
#include <stdbool.h>
#include <stdint.h>

#ifdef __cplusplus
extern "C" {
#endif

/* Payload byte 0 flags, same as the USB firmware. */
#define HALO_FLAG_POWER       0x80
#define HALO_FLAG_FRONT       0x40
#define HALO_FLAG_BACK        0x01
#define HALO_FLAG_BRIGHTNESS  0x04
#define HALO_FLAG_TEMPERATURE 0x02

typedef struct {
	unsigned attempts;
	bool ack;		/* verified ACK */
	bool energy;		/* a packet was captured in the ACK window */
	int rssi_dbm;
	/* diagnostics, accumulated over the attempts */
	unsigned started;	/* timeslots that actually started */
	unsigned tx_done;	/* transmissions that completed */
	unsigned rx_timeout;	/* receive windows that expired */
	unsigned blocked;	/* requests blocked or cancelled by MPSL */
	unsigned no_signal;	/* requests that never produced any signal */
	int request_err;	/* last mpsl_timeslot_request() error */
	unsigned radio_signals;	/* RADIO signals the callback received (expected 0 next to 802.15.4) */
	uint32_t tx_end_us;	/* last TX end time within the slot */
} halo_ts_result_t;

/* Reboot into the board's USB bootloader (Adafruit UF2 or Nordic DFU). */
void halo_ts_reboot_to_bootloader(void);

/* Open the MPSL timeslot session. Call once from a thread. */
int halo_ts_init(void);

/* Send one frame with up to `attempts` tries 100 ms apart, stopping at a verified
 * ACK. Blocks the calling thread for up to attempts * ~110 ms. Thread context only.
 */
halo_ts_result_t halo_ts_send(uint32_t address, uint8_t flags, uint8_t value, unsigned pid,
			      unsigned gain, unsigned attempts);

#ifdef __cplusplus
}
#endif
```
